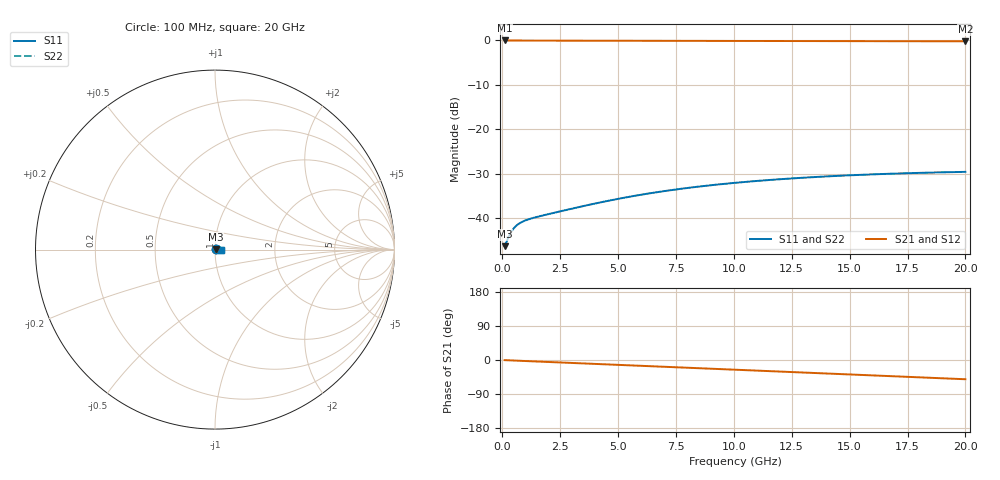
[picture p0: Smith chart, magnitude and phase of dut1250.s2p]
! Touchstone file exported from HFSS 2026.1.0
!  File:  C:/ffzhzh/LocalFiles/Ansys_Project_Files/temp_train_BSMRDL_1250_1783177300_55132.aedt
!  Generated:  11:02:52 PM Jul  4, 2026
!  Design:  BSMRDL
!  Project:  temp_train_BSMRDL_1250_1783177300_55132
! Variables:
!  h_bsmrdl = 2.74um
!  h_ox = 20um
!  h_rdl = 5um
!  h_sub = 80um
!  h_tmrdl = 5um
!  h_tsv = 80um
!  h_via = 3um
!  l_bsmrdl = 899.65um
!  l_sub = 1299.65um
!  l_tmrdl = 200um
!  m_sub = 200um
!  pitch = 31.28um
!  r_tsv = 6um
!  s_tmrdl = 10um
!  w_bsmrdl = 26.98um
!  w_sub = 500um
!  w_tmrdl = 12um
!  x_tsv_center1 = 206um
!  x_tsv_center2 = 1132.63um
!  x_tsv_center3 = 1344.63um
!  x_tsv_center4 = 2271.26um
!  x_tsv_center5 = 2483.26um
!  x_tsv_center6 = 3409.89um
# GHz S MA R 50.000000
! Terminal data exported
! Port[1] = BSM_RDL1_1_T1
! Port[2] = BSM_RDL1_1_T2
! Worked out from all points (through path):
!   200 points, 100 MHz to 20 GHz, reference 50 ohm
!   highest |S21| = -0.04 dB at 100 MHz (marker M1); lowest = -0.2 dB at 20 GHz (marker M2)
!   group delay of S21, straight-line fit = 7.03 ps
!   lowest |S11| = -46.3 dB at 100 MHz (marker M3), VSWR 1.01, Z = 50.5 + j0.111 ohm
!   |S11| at or under -10 dB: start of sweep to end of sweep
!   |S22| runs from -46.3 to -29.7 dB; largest |S21 - S12| = 5.7e-15
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0.1  0.004814 13.1  0.9953 -0.3  0.9953 -0.3  0.004814 13.1
! Gamma 0 0 0 0
! Port Impedance 50 0 50 0
0.3  0.006335 25.1  0.9943 -0.9  0.9943 -0.9  0.006336 25.1
0.4  0.00707 26.3  0.9937 -1.2  0.9937 -1.2  0.007069 26.2
0.5  0.007678 26.3  0.9932 -1.4  0.9932 -1.4  0.007677 26.3
0.6  0.008167 26.0  0.9928 -1.7  0.9928 -1.7  0.008165 26.0
0.7  0.00856 25.6  0.9924 -1.9  0.9924 -1.9  0.008558 25.6
0.8  0.008882 25.3  0.9921 -2.2  0.9921 -2.2  0.008879 25.3
1  0.009385 25.0  0.9917 -2.7  0.9917 -2.7  0.00938 25.0
1.4  0.01012 25.4  0.9912 -3.7  0.9912 -3.7  0.01012 25.4
3.5  0.01361 31.5  0.9896 -9.1  0.9896 -9.1  0.0136 31.5
4.4  0.01528 32.4  0.9889 -11.4  0.9889 -11.4  0.01527 32.4
5.2  0.01679 32.4  0.9881 -13.5  0.9881 -13.5  0.01677 32.4
6  0.01828 31.7  0.9874 -15.5  0.9874 -15.5  0.01826 31.7
6.8  0.01972 30.5  0.9865 -17.6  0.9865 -17.6  0.01969 30.6
8.4  0.02241 27.3  0.9848 -21.6  0.9848 -21.6  0.02237 27.4
10.1  0.02493 23.1  0.983 -26.0  0.983 -26.0  0.02486 23.2
11.7  0.02696 18.9  0.9813 -30.0  0.9813 -30.0  0.02688 19.0
13.4  0.02879 14.1  0.9795 -34.3  0.9795 -34.3  0.02867 14.3
15  0.03021 9.6  0.978 -38.3  0.978 -38.3  0.03007 9.8
16.7  0.03144 4.9  0.9764 -42.5  0.9764 -42.5  0.03125 5.1
18.4  0.03238 0.1  0.975 -46.8  0.975 -46.8  0.03216 0.4
20  0.03302 -4.3  0.9738 -50.8  0.9738 -50.8  0.03277 -4.0
